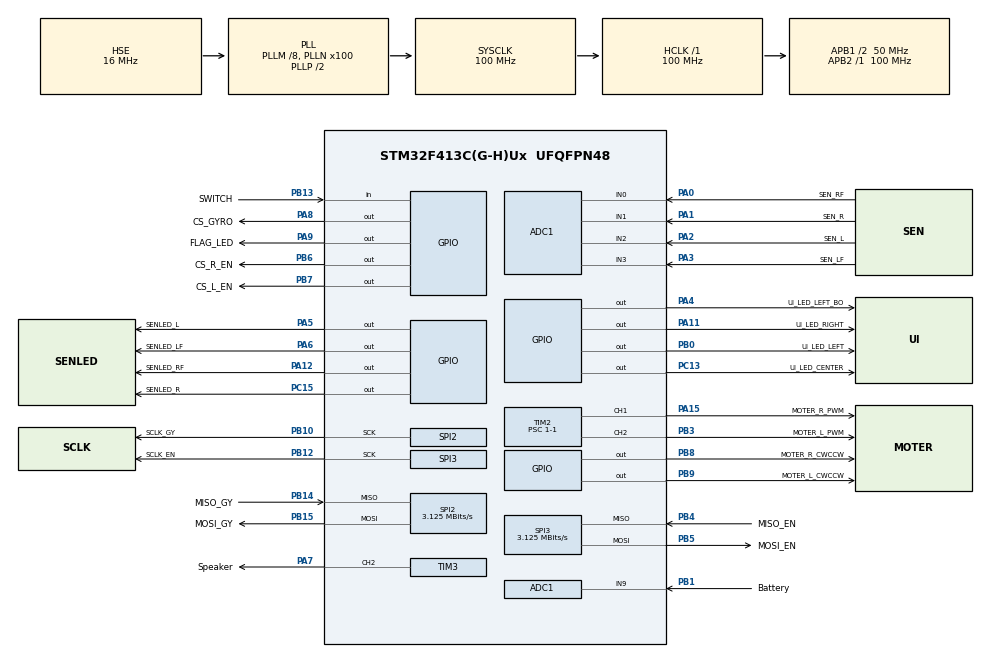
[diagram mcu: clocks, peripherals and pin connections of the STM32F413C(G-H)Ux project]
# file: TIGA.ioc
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ADC1.Channel-0\#ChannelRegularConversion=ADC_CHANNEL_0
ADC1.Channel-1\#ChannelRegularConversion=ADC_CHANNEL_0
ADC1.Channel-2\#ChannelRegularConversion=ADC_CHANNEL_2
ADC1.Channel-3\#ChannelRegularConversion=ADC_CHANNEL_2
ADC1.Channel-4\#ChannelRegularConversion=ADC_CHANNEL_1
ADC1.Channel-5\#ChannelRegularConversion=ADC_CHANNEL_1
ADC1.Channel-6\#ChannelRegularConversion=ADC_CHANNEL_3
ADC1.Channel-7\#ChannelRegularConversion=ADC_CHANNEL_3
ADC1.Channel-8\#ChannelRegularConversion=ADC_CHANNEL_9
ADC1.ContinuousConvMode=DISABLE
ADC1.DMAContinuousRequests=ENABLE
ADC1.DiscontinuousConvMode=ENABLE
ADC1.EOCSelection=ADC_EOC_SINGLE_CONV
ADC1.InjNumberOfConversion=0
ADC1.NbrOfConversion=9
ADC1.NbrOfConversionFlag=1
ADC1.Rank-0\#ChannelRegularConversion=1
ADC1.Rank-1\#ChannelRegularConversion=2
ADC1.Rank-2\#ChannelRegularConversion=3
ADC1.Rank-3\#ChannelRegularConversion=4
ADC1.Rank-4\#ChannelRegularConversion=5
ADC1.Rank-5\#ChannelRegularConversion=6
ADC1.Rank-6\#ChannelRegularConversion=7
ADC1.Rank-7\#ChannelRegularConversion=8
ADC1.Rank-8\#ChannelRegularConversion=9
ADC1.SamplingTime-0\#ChannelRegularConversion=ADC_SAMPLETIME_28CYCLES
ADC1.SamplingTime-1\#ChannelRegularConversion=ADC_SAMPLETIME_28CYCLES
ADC1.SamplingTime-2\#ChannelRegularConversion=ADC_SAMPLETIME_28CYCLES
ADC1.SamplingTime-3\#ChannelRegularConversion=ADC_SAMPLETIME_28CYCLES
ADC1.SamplingTime-4\#ChannelRegularConversion=ADC_SAMPLETIME_28CYCLES
ADC1.SamplingTime-5\#ChannelRegularConversion=ADC_SAMPLETIME_28CYCLES
ADC1.SamplingTime-6\#ChannelRegularConversion=ADC_SAMPLETIME_28CYCLES
ADC1.SamplingTime-7\#ChannelRegularConversion=ADC_SAMPLETIME_28CYCLES
ADC1.SamplingTime-8\#ChannelRegularConversion=ADC_SAMPLETIME_28CYCLES
ADC1.ScanConvMode=ENABLE
ADC1.master=1
Dma.ADC1.0.Direction=DMA_PERIPH_TO_MEMORY
Dma.ADC1.0.FIFOMode=DMA_FIFOMODE_DISABLE
Dma.ADC1.0.Instance=DMA2_Stream0
Dma.ADC1.0.MemDataAlignment=DMA_MDATAALIGN_HALFWORD
Dma.ADC1.0.MemInc=DMA_MINC_ENABLE
Dma.ADC1.0.Mode=DMA_NORMAL
Dma.ADC1.0.PeriphDataAlignment=DMA_PDATAALIGN_HALFWORD
Dma.ADC1.0.PeriphInc=DMA_PINC_DISABLE
Dma.ADC1.0.Priority=DMA_PRIORITY_LOW
Dma.Request0=ADC1
Mcu.Family=STM32F4
Mcu.Name=STM32F413C(G-H)Ux
Mcu.Package=UFQFPN48
NVIC.DMA2_Stream0_IRQn=true\:0\:0\:false\:false\:true\:false\:true
NVIC.PriorityGroup=NVIC_PRIORITYGROUP_4
NVIC.TIM6_DAC_IRQn=true\:0\:0\:false\:false\:true\:true\:true
PA0.GPIO_Label=SEN_RF
PA0.Signal=ADCx_IN0
PA1.GPIO_Label=SEN_R
PA1.Signal=ADCx_IN1
PA11.GPIO_Label=UI_LED_RIGHT
PA11.Signal=GPIO_Output
PA12.GPIO_Label=SENLED_RF
PA12.Signal=GPIO_Output
PA13.Mode=Serial_Wire
PA13.Signal=SYS_JTMS-SWDIO
PA14.Mode=Serial_Wire
PA14.Signal=SYS_JTCK-SWCLK
PA15.GPIO_Label=MOTER_R_PWM
PA15.Signal=S_TIM2_CH1_ETR
PA2.GPIO_Label=SEN_L
PA2.Signal=ADCx_IN2
PA3.GPIO_Label=SEN_LF
PA3.Signal=ADCx_IN3
PA4.GPIO_Label=UI_LED_LEFT_BO
PA4.Signal=GPIO_Output
PA5.GPIO_Label=SENLED_L
PA5.Signal=GPIO_Output
PA6.GPIO_Label=SENLED_LF
PA6.Signal=GPIO_Output
PA7.GPIO_Label=Speaker
PA7.Signal=S_TIM3_CH2
PA8.GPIO_Label=CS_GYRO
PA8.PinState=GPIO_PIN_SET
PA8.Signal=GPIO_Output
PA9.GPIO_Label=FLAG_LED
PA9.Signal=GPIO_Output
PB0.GPIO_Label=UI_LED_LEFT
PB0.Signal=GPIO_Output
PB1.GPIO_Label=Battery
PB1.Signal=ADCx_IN9
PB10.GPIO_Label=SCLK_GY
PB10.Mode=Full_Duplex_Master
PB10.Signal=SPI2_SCK
PB12.GPIO_Label=SCLK_EN
PB12.Mode=Full_Duplex_Master
PB12.Signal=SPI3_SCK
PB13.GPIO_Label=SWITCH
PB13.GPIO_PuPd=GPIO_PULLUP
PB13.Signal=GPIO_Input
PB14.GPIO_Label=MISO_GY
PB14.Mode=Full_Duplex_Master
PB14.Signal=SPI2_MISO
PB15.GPIO_Label=MOSI_GY
PB15.Mode=Full_Duplex_Master
PB15.Signal=SPI2_MOSI
PB3.GPIO_Label=MOTER_L_PWM
PB3.Signal=S_TIM2_CH2
PB4.GPIO_Label=MISO_EN
PB4.Mode=Full_Duplex_Master
PB4.Signal=SPI3_MISO
PB5.GPIO_Label=MOSI_EN
PB5.Mode=Full_Duplex_Master
PB5.Signal=SPI3_MOSI
PB6.GPIO_Label=CS_R_EN
PB6.PinState=GPIO_PIN_SET
PB6.Signal=GPIO_Output
PB7.GPIO_Label=CS_L_EN
PB7.PinState=GPIO_PIN_SET
PB7.Signal=GPIO_Output
PB8.GPIO_Label=MOTER_R_CWCCW
PB8.PinState=GPIO_PIN_SET
PB8.Signal=GPIO_Output
PB9.GPIO_Label=MOTER_L_CWCCW
PB9.PinState=GPIO_PIN_SET
PB9.Signal=GPIO_Output
PC13.GPIO_Label=UI_LED_CENTER
PC13.Signal=GPIO_Output
PC15-OSC32_OUT.GPIO_Label=SENLED_R
PC15-OSC32_OUT.Signal=GPIO_Output
PH0\ -\ OSC_IN.Mode=HSE-External-Oscillator
PH0\ -\ OSC_IN.Signal=RCC_OSC_IN
PH1\ -\ OSC_OUT.Mode=HSE-External-Oscillator
PH1\ -\ OSC_OUT.Signal=RCC_OSC_OUT
ProjectManager.HeapSize=0x200
ProjectManager.StackSize=0x400
ProjectManager.TargetToolchain=STM32CubeIDE
RCC.AHBFreq_Value=100000000
RCC.APB1CLKDivider=RCC_HCLK_DIV2
RCC.APB1Freq_Value=50000000
RCC.APB1TimFreq_Value=100000000
RCC.APB2Freq_Value=100000000
RCC.APB2TimFreq_Value=100000000
RCC.CortexFreq_Value=100000000
RCC.HCLKFreq_Value=100000000
RCC.HSE_VALUE=16000000
RCC.PLLM=8
RCC.PLLN=100
RCC.PLLSourceVirtual=RCC_PLLSOURCE_HSE
RCC.SYSCLKFreq_VALUE=100000000
RCC.SYSCLKSource=RCC_SYSCLKSOURCE_PLLCLK
RCC.USBFreq_Value=100000000
RCC.VCOOutputFreq_Value=200000000
SH.ADCx_IN0.0=ADC1_IN0,IN0
SH.ADCx_IN1.0=ADC1_IN1,IN1
SH.ADCx_IN2.0=ADC1_IN2,IN2
SH.ADCx_IN3.0=ADC1_IN3,IN3
SH.ADCx_IN9.0=ADC1_IN9,IN9
SH.S_TIM2_CH1_ETR.0=TIM2_CH1,PWM Generation1 CH1
SH.S_TIM2_CH2.0=TIM2_CH2,PWM Generation2 CH2
SH.S_TIM3_CH2.0=TIM3_CH2,PWM Generation2 CH2
SPI2.BaudRatePrescaler=SPI_BAUDRATEPRESCALER_16
SPI2.CLKPhase=SPI_PHASE_2EDGE
SPI2.CLKPolarity=SPI_POLARITY_HIGH
SPI2.CalculateBaudRate=3.125 MBits/s
SPI2.Direction=SPI_DIRECTION_2LINES
SPI2.Mode=SPI_MODE_MASTER
SPI2.VirtualType=VM_MASTER
SPI3.BaudRatePrescaler=SPI_BAUDRATEPRESCALER_16
SPI3.CLKPhase=SPI_PHASE_2EDGE
SPI3.CalculateBaudRate=3.125 MBits/s
SPI3.DataSize=SPI_DATASIZE_16BIT
SPI3.Direction=SPI_DIRECTION_2LINES
SPI3.Mode=SPI_MODE_MASTER
SPI3.VirtualType=VM_MASTER
TIM2.AutoReloadPreload=TIM_AUTORELOAD_PRELOAD_ENABLE
TIM2.Channel-PWM\ Generation1\ CH1=TIM_CHANNEL_1
TIM2.Channel-PWM\ Generation2\ CH2=TIM_CHANNEL_2
TIM2.OCPolarity_1=TIM_OCPOLARITY_HIGH
TIM2.OCPolarity_2=TIM_OCPOLARITY_HIGH
TIM2.Period=800-1
TIM2.Prescaler=1-1
TIM2.Pulse-PWM\ Generation1\ CH1=10-1
TIM2.Pulse-PWM\ Generation2\ CH2=10-1
TIM3.AutoReloadPreload=TIM_AUTORELOAD_PRELOAD_ENABLE
TIM3.Channel-PWM\ Generation2\ CH2=TIM_CHANNEL_2
TIM3.Channel-PWM\ Generation4\ CH4=TIM_CHANNEL_4
TIM3.Period=3822-1
TIM3.Prescaler=100-1
TIM3.Pulse-PWM\ Generation2\ CH2=1600
TIM6.AutoReloadPreload=TIM_AUTORELOAD_PRELOAD_ENABLE
TIM6.Period=1000-1
TIM6.Prescaler=100-1
VP_TIM6_VS_ClockSourceINT.Mode=Enable_Timer
board=custom

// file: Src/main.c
/* USER CODE BEGIN Header */
/**
 ******************************************************************************
 * @file           : main.c
 * @brief          : Main program body
 ******************************************************************************
 * @attention
 *
 * <h2><center>&copy; Copyright (c) 2019 STMicroelectronics.
 * All rights reserved.</center></h2>
 *
 * This software component is licensed by ST under BSD 3-Clause license,
 * the "License"; You may not use this file except in compliance with the
 * License. You may obtain a copy of the License at:
 *                        opensource.org/licenses/BSD-3-Clause
 *
 ******************************************************************************
 */
/* USER CODE END Header */

#include "main.h"
#include "adc.h"
#include "dma.h"
#include "spi.h"
#include "tim.h"
#include "gpio.h"

/* USER CODE BEGIN Includes */
#include "SEGGER_RTT.h"
#include "SEGGER_RTT_Conf.h"
#include "stdint.h"
#include "stdio.h"
#include "variable.h"
#include "walldata.h"
#include "other.h"
#include "buzzer.h"
#include "mode.h"
/* USER CODE END Includes */

void SystemClock_Config(void);

int main(void) {

	/* MCU Configuration--------------------------------------------------------*/

	/* Reset of all peripherals, Initializes the Flash interface and the Systick. */

	HAL_Init();

	/* Configure the system clock */
	SystemClock_Config();

	/* Initialize all configured peripherals */
	MX_GPIO_Init();
	MX_DMA_Init();
	MX_ADC1_Init();
	MX_SPI2_Init();
	MX_SPI3_Init();
	MX_TIM2_Init();
	MX_TIM3_Init();
	MX_TIM6_Init();
	/* USER CODE BEGIN 2 */
	HAL_TIM_Base_Start_IT(&htim6);
	SEGGER_RTT_Init();
	SEGGER_RTT_ConfigUpBuffer(0, NULL, NULL, 0, SEGGER_RTT_MODE_NO_BLOCK_SKIP);
	printf("\x1b[0m");
	init_walldata();
	HAL_GPIO_WritePin(CS_GYRO_GPIO_Port, CS_GYRO_Pin, SET);
	HAL_GPIO_WritePin(CS_L_EN_GPIO_Port, CS_L_EN_Pin, 1);
	HAL_GPIO_WritePin(CS_R_EN_GPIO_Port, CS_R_EN_Pin, 1);
	init_gyro();
	HAL_TIM_PWM_Stop(&htim2, TIM_CHANNEL_1);
	HAL_TIM_PWM_Stop(&htim2, TIM_CHANNEL_2);
	__HAL_TIM_SET_COMPARE(&htim2, TIM_CHANNEL_1, 0);
	__HAL_TIM_SET_COMPARE(&htim2, TIM_CHANNEL_2, 0);
	set_led(0);
	HAL_GPIO_WritePin(SENLED_RF_GPIO_Port, SENLED_RF_Pin, SET);
	HAL_GPIO_WritePin(SENLED_LF_GPIO_Port, SENLED_LF_Pin, SET);
	HAL_GPIO_WritePin(SENLED_R_GPIO_Port, SENLED_R_Pin, SET);
	HAL_GPIO_WritePin(SENLED_L_GPIO_Port, SENLED_L_Pin, SET);
	clear_Map(&walldata.real);
	clear_Map(&walldata.checked);
	clear_adachiMap(&walldata.adachi);
	walldata.checked.row[1] = 0x1;

	HAL_Delay(10);
	Battery_Check();

	/* USER CODE END 2 */

	/* Infinite loop */
	/* USER CODE BEGIN WHILE */
	u_int16_t i, j;
//	uint8_t test = 1;
//	float pi = 3.14;

//	walldata.real.column[1]++;

//	HAL_ADC_Start_DMA(&hadc1, (uint32_t*) g_ADCBuffer,
//			sizeof(g_ADCBuffer) / sizeof(uint16_t));

	for (i = 0; i < 17; i++) {
		for (j = 0; j < 17; j++) {
			step_map[i][j] = i + j * 16;
		}
		printf("i=%d,pari=%d\n", i, check_parity(i));
	}

	for (i = 0; i < 50; i++) {
		enc_buff_l[i] = 0;
		enc_buff_r[i] = 0;
		acc_buff[i] = 0;
	}
	for (i = 50; i < 100; i++) {
		enc_buff_l[i] = 0;
		enc_buff_r[i] = 0;
	}

//	output_Walldata(REAL);
	mode = 0;
	mode_select_dis = 10;

	SEN_L.reference = 452;
	SEN_L.threshold = 140;
	SEN_R.reference = 460;
	SEN_R.threshold = 140;
	SEN_LF.reference = 420; //区画入り口
	SEN_LF.threshold = 917; //区画入り口と中心の間
	SEN_RF.reference = 420; //区画入り口
	SEN_RF.threshold = 1200; //区画入り口と中心の間

	SEN_F.reference = (int) (SEN_RF.reference + SEN_LF.reference) / 2;
	SEN_F.threshold = (int) (SEN_F.reference * 0.3);

//	wall_cntrol_gain.Kp = 0.075;
	SEN_LF.front_kusi = 180;//200//SEN_LF.reference
	SEN_RF.front_kusi = 180;
//	wall_cntrol_gain.Ki = 0.5;

	run_gain.Kp = 0.6;
	run_gain.Ki = 0.15;

//	rotation_gain.Kp = 0.5;
//	rotation_gain.Ki = 0.012; //3

//	rotation_gain.Kp = 0.27;
//	rotation_gain.Ki = 0.065; //3

	rotation_gain.Kp = 0.18;//22
	rotation_gain.Ki = 0.035; //45

	wall_cntrol_gain.Ki = 0.25*0;
	wall_cntrol_gain.Kp = 0.05;

	nomal_run.vel_search = 280.0;
	nomal_run.accel = 1000.0;
	nomal_run.vel_max=500.0;

	known_acc = 1000.0;
	known_vel = 350.0;

	nomal_rotation.vel_search = 750.0;
	nomal_rotation.accel = 1700.0;

	x.goal = 8;
	y.goal = 7;
	while (1) {
//		while (1) {
//			set_led(2);
//			HAL_Delay(500);
//			set_led(5);
//			HAL_Delay(500);
//		}

//		printf("mode:sel_dis=%3.2f,vel=%3.2f\n", mode_select_dis, real_R.vel);
//		printf("R=%8.2f,	L=%8.2f\n",test_R,test_L);
//		printf("%8.3f\n",real_acc);

		set_led(mode);
		if (mode_select_dis > 30) {
			mode_select_dis = 0;
			mode++;
			if (mode >= 8) {
				mode = 0;
			}
			set_buzzer_mode(mode);
		}

		if (mode_select_dis < -30) {
			mode_select_dis = 0;
			if (mode == 0) {
				mode = 8;
			}
			mode--;
			set_buzzer_mode(mode);
		}

		if (HAL_GPIO_ReadPin(SWITCH_GPIO_Port, SWITCH_Pin) == 0) {
			mode_select_dis = 0;
			set_led(0);
			set_buzzer_mode(mode);
			chattering();
			go_mode();
		}
		HAL_GPIO_TogglePin(UI_LED_LEFT_BO_GPIO_Port, UI_LED_LEFT_BO_Pin);

//		if (HAL_GPIO_ReadPin(SWITCH_GPIO_Port, SWITCH_Pin) == 0) {
//			mode++;
//			mode = mode % 8;
//			printf("%d\n", mode);
//			chattering();
//			set_led(mode);
//			set_buzzer_mode(mode);
//			real_rotation.dis = 0;
//
//			if (mode == 2) {
//				HAL_TIM_PWM_Stop(&htim2, TIM_CHANNEL_1);
//				HAL_TIM_PWM_Stop(&htim2, TIM_CHANNEL_2);
//				__HAL_TIM_SET_COMPARE(&htim2, TIM_CHANNEL_1, 400);
//				__HAL_TIM_SET_COMPARE(&htim2, TIM_CHANNEL_2, 400);
//				HAL_TIM_PWM_Start(&htim2, TIM_CHANNEL_1);
//				HAL_TIM_PWM_Start(&htim2, TIM_CHANNEL_2);
//			} else {
//				HAL_TIM_PWM_Stop(&htim2, TIM_CHANNEL_1);
//				HAL_TIM_PWM_Stop(&htim2, TIM_CHANNEL_2);
//			}
//		}
//
//		if (low_batt_flag == 0xff) {
//			//		while(1){
//			set_led(0);
//			HAL_Delay(100);
//			set_led(7);
//			HAL_Delay(100);
//			//		}
//		} else {
//			set_led(mode);
//		}
//
//		HAL_GPIO_TogglePin(UI_LED_LEFT_BO_GPIO_Port, UI_LED_LEFT_BO_Pin);
//
//		printf("batt=%4.2f\n", Batt);
//		HAL_Delay(100);
//
//		if (mode == 0) {
////			printf("LEFT=%4.2f,RIGHT=%4.8f\n",read_vel(LEFT),read_vel(RIGHT));
//
//		} else if (mode == 1) {
////			printf("%4.2f,%4.2f\n",real_rotation.dis,real_rotation.vel);
//			printf("%4d,%4d,%4d,%4d,%4d,%4d,%4d,%4d,%4d\n", g_ADCBuffer[0],
//					g_ADCBuffer[1], g_ADCBuffer[2], g_ADCBuffer[3],
//					g_ADCBuffer[4], g_ADCBuffer[5], g_ADCBuffer[6],
//					g_ADCBuffer[7], g_ADCBuffer[8]);
//		} else if (mode == 2) {
//			HAL_TIM_PWM_Stop(&htim2, TIM_CHANNEL_1);
//			HAL_TIM_PWM_Stop(&htim2, TIM_CHANNEL_2);
//			__HAL_TIM_SET_COMPARE(&htim2, TIM_CHANNEL_1, 200);
//			__HAL_TIM_SET_COMPARE(&htim2, TIM_CHANNEL_2, 200);
//			HAL_TIM_PWM_Start(&htim2, TIM_CHANNEL_1);
//			HAL_TIM_PWM_Start(&htim2, TIM_CHANNEL_2);
//		} else if (mode == 3) {
//			printf("LEFT=%4.2f,RIGHT=%4.2f\n", read_vel(LEFT), read_vel(RIGHT));
//		} else if (mode == 4) {
//
//		} else if (mode == 5) {
//
//		} else if (mode == 6) {
//
//		} else if (mode == 7) {
//
//		}

		/* USER CODE END WHILE */

	}
}

void SystemClock_Config(void) {
	RCC_OscInitTypeDef RCC_OscInitStruct = { 0 };
	RCC_ClkInitTypeDef RCC_ClkInitStruct = { 0 };

	/** Configure the main internal regulator output voltage
	 */
	__HAL_RCC_PWR_CLK_ENABLE()
	;
	__HAL_PWR_VOLTAGESCALING_CONFIG(PWR_REGULATOR_VOLTAGE_SCALE1);
	/** Initializes the CPU, AHB and APB busses clocks
	 */
	RCC_OscInitStruct.OscillatorType = RCC_OSCILLATORTYPE_HSE;
	RCC_OscInitStruct.HSEState = RCC_HSE_ON;
	RCC_OscInitStruct.PLL.PLLState = RCC_PLL_ON;
	RCC_OscInitStruct.PLL.PLLSource = RCC_PLLSOURCE_HSE;
	RCC_OscInitStruct.PLL.PLLM = 8;
	RCC_OscInitStruct.PLL.PLLN = 100;
	RCC_OscInitStruct.PLL.PLLP = RCC_PLLP_DIV2;
	RCC_OscInitStruct.PLL.PLLQ = 2;
	RCC_OscInitStruct.PLL.PLLR = 2;
	if (HAL_RCC_OscConfig(&RCC_OscInitStruct) != HAL_OK) {
		Error_Handler();
	}
	/** Initializes the CPU, AHB and APB busses clocks
	 */
	RCC_ClkInitStruct.ClockType = RCC_CLOCKTYPE_HCLK | RCC_CLOCKTYPE_SYSCLK
			| RCC_CLOCKTYPE_PCLK1 | RCC_CLOCKTYPE_PCLK2;
	RCC_ClkInitStruct.SYSCLKSource = RCC_SYSCLKSOURCE_PLLCLK;
	RCC_ClkInitStruct.AHBCLKDivider = RCC_SYSCLK_DIV1;
	RCC_ClkInitStruct.APB1CLKDivider = RCC_HCLK_DIV2;
	RCC_ClkInitStruct.APB2CLKDivider = RCC_HCLK_DIV1;

	if (HAL_RCC_ClockConfig(&RCC_ClkInitStruct, FLASH_LATENCY_3) != HAL_OK) {
		Error_Handler();
	}
}

void Error_Handler(void) {
}

/************************ (C) COPYRIGHT STMicroelectronics *****END OF FILE****/
